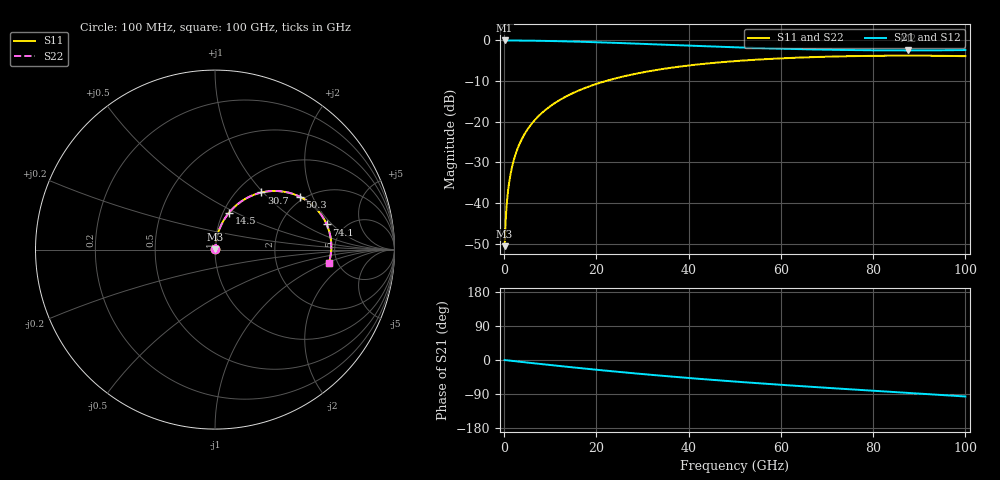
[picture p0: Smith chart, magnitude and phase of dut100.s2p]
! Touchstone file exported from HFSS 2026.1.0
!  File:  C:/ffzhzh/LocalFiles/Ansys_Project_Files/temp_train_RDL_100_1783499113_44152.aedt
!  Generated:  04:26:20 PM Jul  8, 2026
!  Design:  RDL
!  Project:  temp_train_RDL_100_1783499113_44152
! Variables:
!  h_bsmrdl = 2um
!  h_ox = 20um
!  h_rdl = 5um
!  h_sub = 80um
!  h_tmrdl = 3.13um
!  h_tsv = 80um
!  h_via = 3um
!  l_bsmrdl = 300um
!  l_sub = 712.97um
!  l_tmrdl = 312.97um
!  m_sub = 200um
!  pitch = 47.52um
!  r_tsv = 6um
!  s_tmrdl = 10um
!  w_bsmrdl = 18um
!  w_sub = 500um
!  w_tmrdl = 15.94um
!  x_tsv_center1 = 320.94um
!  x_tsv_center2 = 638.94um
!  x_tsv_center3 = 967.85um
!  x_tsv_center4 = 1285.85um
!  x_tsv_center5 = 1614.76um
!  x_tsv_center6 = 1932.76um
# GHz S MA R 50.000000
! Terminal data exported
! Port[1] = TM_RDL1_1_T1
! Port[2] = TM_RDL1_1_T2
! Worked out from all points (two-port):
!   1000 points, 100 MHz to 100 GHz, reference 50 ohm
!   highest |S21| = -0.02 dB at 100 MHz (marker M1); lowest = -2.5 dB at 87.5 GHz (marker M2)
!   |S21| within 3 dB of the highest: start of sweep to end of sweep
!   lowest |S11| = -50.6 dB at 100 MHz (marker M3), VSWR 1.01, Z = 50.2 + j0.17 ohm
!   |S11| at or under -10 dB: start of sweep to 22.06 GHz
!   |S22| runs from -50.6 to -3.8 dB; largest |S21 - S12| = 8.5e-15
!   S11 on the Smith chart (normalised r, x): 100 MHz: 1.00, +0.00; 14.5 GHz: 1.07, +0.46; 30.7 GHz: 1.28, +0.98; 50.3 GHz: 1.89, +1.62; 74.1 GHz: 3.65, +1.73; 100 GHz: 4.26, -1.06
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0.1  0.002936 35.2  0.9976 -0.1  0.9976 -0.1  0.002936 35.2
! Gamma 0 0 0 0
! Port Impedance 50 0 50 0
0.3  0.005622 63.1  0.9975 -0.4  0.9975 -0.4  0.005622 63.1
0.9  0.01489 77.9  0.9971 -1.2  0.9971 -1.2  0.01489 77.9
1.4  0.02273 80.7  0.9968 -1.9  0.9968 -1.9  0.02273 80.7
1.8  0.02903 81.6  0.9966 -2.4  0.9966 -2.4  0.02903 81.6
2.3  0.03693 82.1  0.9962 -3.1  0.9962 -3.1  0.03693 82.1
3.6  0.05741 81.7  0.995 -4.9  0.995 -4.9  0.05741 81.7
5.4  0.08547 80.1  0.9924 -7.3  0.9924 -7.3  0.08547 80.1
7.8  0.1221 77.4  0.9878 -10.4  0.9878 -10.4  0.1221 77.4
10.8  0.1665 73.7  0.9803 -14.3  0.9803 -14.3  0.1665 73.7
14.5  0.2188 69.3  0.969 -19.0  0.969 -19.0  0.2188 69.3
16.8  0.2498 66.5  0.961 -21.8  0.961 -21.8  0.2498 66.5
23.1  0.3285 59.2  0.9362 -29.4  0.9362 -29.4  0.3285 59.2
30.7  0.4103 50.9  0.9029 -37.9  0.9029 -37.9  0.4103 50.9
33.4  0.4359 48.0  0.8909 -40.8  0.8909 -40.8  0.4359 48.0
50.1  0.5559 32.1  0.8218 -57.0  0.8218 -57.0  0.5559 32.1
50.3  0.557 31.9  0.8211 -57.1  0.8211 -57.1  0.557 32.0
66.7  0.6218 18.4  0.774 -70.9  0.774 -70.9  0.6218 18.4
74.1  0.6377 12.7  0.7613 -76.6  0.7613 -76.6  0.6377 12.7
83.4  0.6476 5.8  0.753 -83.7  0.753 -83.7  0.6476 5.8
87.5  0.6486 2.7  0.7522 -86.8  0.7522 -86.8  0.6486 2.8
100  0.6388 -6.6  0.7601 -96.3  0.7601 -96.3  0.6387 -6.6
